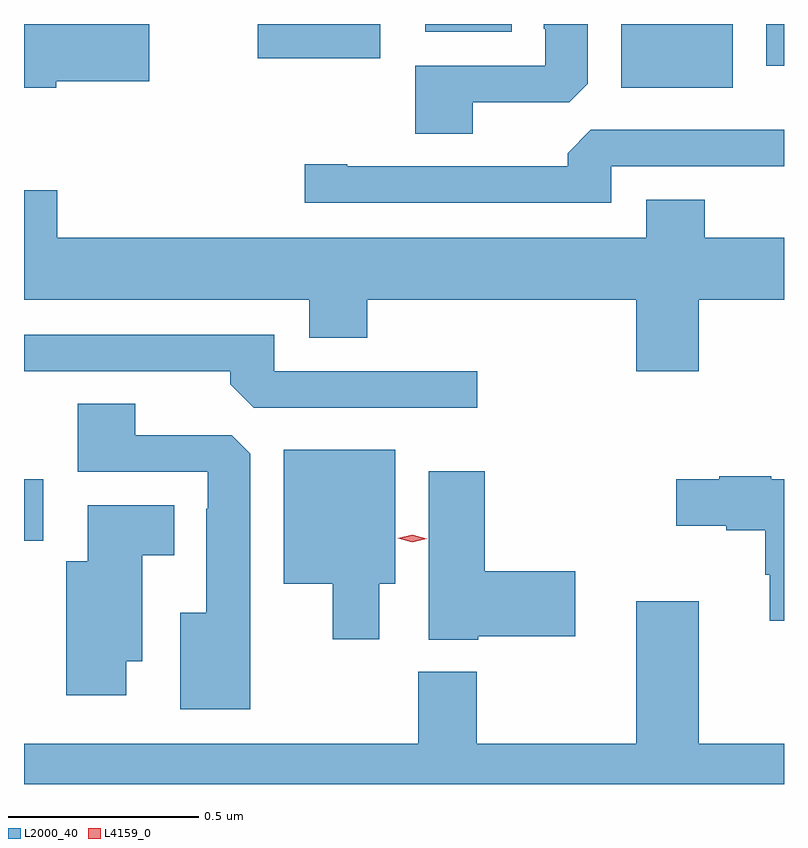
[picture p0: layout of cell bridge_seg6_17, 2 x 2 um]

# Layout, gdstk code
import gdstk
lib = gdstk.Library(unit=1e-6, precision=1e-09)
def R(c, l, rs):  # rectangles x0, y0, x1, y1
    for r in rs: c.add(gdstk.rectangle(r[:2], r[2:], *l))
def P(c, l, *ps):  # polygons
    for p in ps: c.add(gdstk.Polygon(p, *l))
L2000_40 = (2000, 40)
L4159_0 = (4159, 0)

bridge_seg6_17 = lib.new_cell('bridge_seg6_17')
R(bridge_seg6_17, L2000_40, [(978.581,952.03,978.631,952.192), (980.153,953.222,980.446,953.39), (980.534,953.28,980.581,953.39), (979.196,953.3,979.519,953.39), (979.637,953.369,979.864,953.39)])
P(bridge_seg6_17, L2000_40, [(979.762,953.184),(980.016,953.184),(980.065,953.233),(980.065,953.39),(979.949,953.39),(979.949,953.377),(979.953,953.377),(979.953,953.28),(979.61,953.28),(979.61,953.101),(979.762,953.101)],
  [(978.666,953.24),(978.91,953.24),(978.91,953.39),(978.581,953.39),(978.581,953.222),(978.666,953.222)],
  [(980.127,953.016),(980.581,953.016),(980.581,953.112),(980.073,953.112),(980.012,953.05),(980.012,953.016),(979.432,953.016),(979.432,953.021),(979.32,953.021),(979.32,952.92),(980.127,952.92)],
  [(978.668,952.952),(978.581,952.952),(978.581,952.664),(979.331,952.664),(979.331,952.565),(979.484,952.565),(979.484,952.664),(980.192,952.664),(980.192,952.476),(980.356,952.476),(980.356,952.664),(980.581,952.664),(980.581,952.828),(980.372,952.828),(980.372,952.927),(980.219,952.927),(980.219,952.828),(978.668,952.828)],
  [(979.774,952.476),(979.239,952.476),(979.239,952.572),(978.581,952.572),(978.581,952.476),(979.124,952.476),(979.124,952.442),(979.185,952.38),(979.774,952.38)],
  [(979.177,952.259),(979.128,952.308),(978.874,952.308),(978.874,952.391),(978.722,952.391),(978.722,952.212),(979.065,952.212),(979.065,952.115),(979.061,952.115),(979.061,951.841),(978.992,951.841),(978.992,951.587),(979.177,951.587)],
  [(979.516,951.917),(979.558,951.917),(979.558,952.27),(979.265,952.27),(979.265,951.917),(979.394,951.917),(979.394,951.771),(979.516,951.771)],
  [(979.776,951.779),(980.032,951.779),(980.032,951.95),(979.793,951.95),(979.793,952.213),(979.646,952.213),(979.646,951.77),(979.776,951.77)],
  [(980.581,952.192),(980.547,952.192),(980.547,952.2),(980.41,952.2),(980.41,952.192),(980.298,952.192),(980.298,952.07),(980.429,952.07),(980.429,952.058),(980.531,952.058),(980.531,951.941),(980.543,951.941),(980.543,951.819),(980.581,951.819)],
  [(978.85,951.713),(978.892,951.713),(978.892,951.992),(978.976,951.992),(978.976,952.123),(978.749,952.123),(978.749,951.976),(978.692,951.976),(978.692,951.624),(978.85,951.624)],
  [(980.581,951.496),(980.356,951.496),(980.356,951.871),(980.192,951.871),(980.192,951.496),(979.773,951.496),(979.773,951.685),(979.618,951.685),(979.618,951.496),(978.581,951.496),(978.581,951.39),(980.581,951.39)])
P(bridge_seg6_17, L4159_0, [(979.603,952.026),(979.565,952.037),(979.565,952.037),(979.565,952.037),(979.603,952.046),(979.641,952.036),(979.642,952.036),(979.641,952.035)])

lib.write_gds('bridge_seg6_17.gds')
